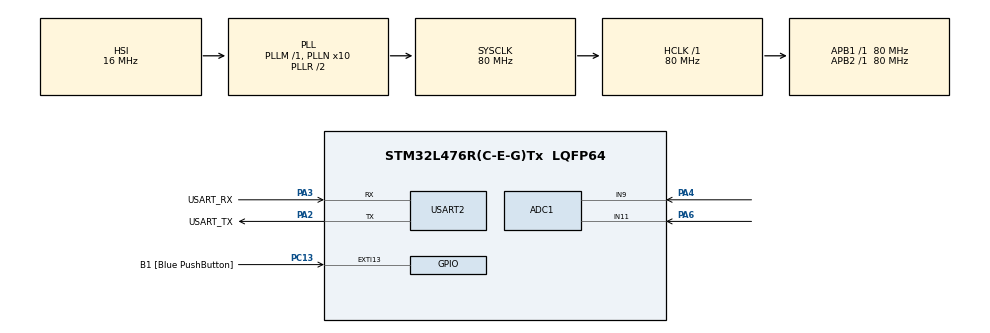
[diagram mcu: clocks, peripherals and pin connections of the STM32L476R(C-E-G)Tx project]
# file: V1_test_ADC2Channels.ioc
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ADC1.Channel-7\#ChannelRegularConversion=ADC_CHANNEL_11
ADC1.ContinuousConvMode=ENABLE
ADC1.NbrOfConversionFlag=1
ADC1.OffsetNumber-7\#ChannelRegularConversion=ADC_OFFSET_NONE
ADC1.Rank-7\#ChannelRegularConversion=1
ADC1.SamplingTime-7\#ChannelRegularConversion=ADC_SAMPLETIME_2CYCLES_5
ADC1.master=1
Dma.ADC1.0.Direction=DMA_PERIPH_TO_MEMORY
Dma.ADC1.0.Instance=DMA1_Channel1
Dma.ADC1.0.MemDataAlignment=DMA_MDATAALIGN_HALFWORD
Dma.ADC1.0.MemInc=DMA_MINC_ENABLE
Dma.ADC1.0.Mode=DMA_NORMAL
Dma.ADC1.0.PeriphDataAlignment=DMA_PDATAALIGN_HALFWORD
Dma.ADC1.0.PeriphInc=DMA_PINC_DISABLE
Dma.ADC1.0.Priority=DMA_PRIORITY_LOW
Dma.Request0=ADC1
Mcu.Family=STM32L4
Mcu.Name=STM32L476R(C-E-G)Tx
Mcu.Package=LQFP64
NVIC.ADC1_2_IRQn=true\:0\:0\:false\:false\:true\:true
NVIC.DMA1_Channel1_IRQn=true\:0\:0\:false\:false\:true\:false
NVIC.PriorityGroup=NVIC_PRIORITYGROUP_4
NVIC.TIM3_IRQn=true\:0\:0\:false\:false\:true\:true
PA13\ (JTMS-SWDIO).GPIO_Label=TMS
PA13\ (JTMS-SWDIO).Mode=Trace_Asynchronous_SW
PA13\ (JTMS-SWDIO).Signal=SYS_JTMS-SWDIO
PA14\ (JTCK-SWCLK).GPIO_Label=TCK
PA14\ (JTCK-SWCLK).Mode=Trace_Asynchronous_SW
PA14\ (JTCK-SWCLK).Signal=SYS_JTCK-SWCLK
PA2.GPIO_Label=USART_TX
PA2.GPIO_Mode=GPIO_MODE_AF_PP
PA2.GPIO_PuPd=GPIO_NOPULL
PA2.GPIO_Speed=GPIO_SPEED_FREQ_VERY_HIGH
PA2.Mode=Asynchronous
PA2.Signal=USART2_TX
PA3.GPIO_Label=USART_RX
PA3.GPIO_Mode=GPIO_MODE_AF_PP
PA3.GPIO_PuPd=GPIO_NOPULL
PA3.GPIO_Speed=GPIO_SPEED_FREQ_VERY_HIGH
PA3.Mode=Asynchronous
PA3.Signal=USART2_RX
PA4.Signal=ADCx_IN9
PA6.Signal=ADCx_IN11
PB3\ (JTDO-TRACESWO).Mode=Trace_Asynchronous_SW
PB3\ (JTDO-TRACESWO).Signal=SYS_JTDO-SWO
PC13.GPIO_Label=B1 [Blue PushButton]
PC13.GPIO_ModeDefaultEXTI=GPIO_MODE_IT_FALLING
PC13.GPIO_PuPd=GPIO_NOPULL
PC13.Signal=GPXTI13
PC14-OSC32_IN\ (PC14).Mode=LSE-External-Oscillator
PC14-OSC32_IN\ (PC14).Signal=RCC_OSC32_IN
PC15-OSC32_OUT\ (PC15).Mode=LSE-External-Oscillator
PC15-OSC32_OUT\ (PC15).Signal=RCC_OSC32_OUT
PH0-OSC_IN\ (PH0).Signal=RCC_OSC_IN
PH1-OSC_OUT\ (PH1).Signal=RCC_OSC_OUT
ProjectManager.HeapSize=0x200
ProjectManager.StackSize=0x400
ProjectManager.TargetToolchain=TrueSTUDIO
RCC.ADCFreq_Value=64000000
RCC.AHBFreq_Value=80000000
RCC.APB1Freq_Value=80000000
RCC.APB1TimFreq_Value=80000000
RCC.APB2Freq_Value=80000000
RCC.APB2TimFreq_Value=80000000
RCC.CortexFreq_Value=80000000
RCC.HCLKFreq_Value=80000000
RCC.HSE_VALUE=8000000
RCC.HSI_VALUE=16000000
RCC.MSI_VALUE=4000000
RCC.PLLN=10
RCC.PLLSourceVirtual=RCC_PLLSOURCE_HSI
RCC.PREFETCH_ENABLE=1
RCC.SYSCLKFreq_VALUE=80000000
RCC.SYSCLKSource=RCC_SYSCLKSOURCE_PLLCLK
RCC.USBFreq_Value=64000000
RCC.VCOOutputFreq_Value=160000000
SH.ADCx_IN11.0=ADC1_IN11,IN11-Single-Ended
SH.ADCx_IN9.0=ADC1_IN9,IN9-Single-Ended
TIM3.Period=1000
TIM3.Prescaler=63999
USART2.VirtualMode-Asynchronous=VM_ASYNC
VP_TIM3_VS_ClockSourceINT.Mode=Internal
board=NUCLEO-L476RG

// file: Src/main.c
/* USER CODE BEGIN Header */
/**
  ******************************************************************************
  * @file           : main.c
  * @brief          : Main program body
  *
  * PA4 : Sensor Gaz
  *
  * PA6 : battery
  *
  ******************************************************************************
  ** This notice applies to any and all portions of this file
  * that are not between comment pairs USER CODE BEGIN and
  * USER CODE END. Other portions of this file, whether
  * inserted by the user or by software development tools
  * are owned by their respective copyright owners.
  *
  * COPYRIGHT(c) 2019 STMicroelectronics
  *
  * Redistribution and use in source and binary forms, with or without modification,
  * are permitted provided that the following conditions are met:
  *   1. Redistributions of source code must retain the above copyright notice,
  *      this list of conditions and the following disclaimer.
  *   2. Redistributions in binary form must reproduce the above copyright notice,
  *      this list of conditions and the following disclaimer in the documentation
  *      and/or other materials provided with the distribution.
  *   3. Neither the name of STMicroelectronics nor the names of its contributors
  *      may be used to endorse or promote products derived from this software
  *      without specific prior written permission.
  *
  * THIS SOFTWARE IS PROVIDED BY THE COPYRIGHT HOLDERS AND CONTRIBUTORS "AS IS"
  * AND ANY EXPRESS OR IMPLIED WARRANTIES, INCLUDING, BUT NOT LIMITED TO, THE
  * IMPLIED WARRANTIES OF MERCHANTABILITY AND FITNESS FOR A PARTICULAR PURPOSE ARE
  * DISCLAIMED. IN NO EVENT SHALL THE COPYRIGHT HOLDER OR CONTRIBUTORS BE LIABLE
  * FOR ANY DIRECT, INDIRECT, INCIDENTAL, SPECIAL, EXEMPLARY, OR CONSEQUENTIAL
  * DAMAGES (INCLUDING, BUT NOT LIMITED TO, PROCUREMENT OF SUBSTITUTE GOODS OR
  * SERVICES; LOSS OF USE, DATA, OR PROFITS; OR BUSINESS INTERRUPTION) HOWEVER
  * CAUSED AND ON ANY THEORY OF LIABILITY, WHETHER IN CONTRACT, STRICT LIABILITY,
  * OR TORT (INCLUDING NEGLIGENCE OR OTHERWISE) ARISING IN ANY WAY OUT OF THE USE
  * OF THIS SOFTWARE, EVEN IF ADVISED OF THE POSSIBILITY OF SUCH DAMAGE.
  *
  ******************************************************************************
  */
/* USER CODE END Header */

#include "main.h"

/* USER CODE BEGIN Includes */
#include <stdio.h>
#include <inttypes.h>
#include <math.h>
/* USER CODE END Includes */

/* USER CODE BEGIN PD */
#define ADCCONVERTEDVALUES_BUFFER_SIZE ((uint32_t) 2)
/* Size of array containing ADC converted values: set to ADC sequencer number of ranks converted, to have a rank in each address */
/* USER CODE END PD */

ADC_HandleTypeDef hadc1;
DMA_HandleTypeDef hdma_adc1;

TIM_HandleTypeDef htim3;

UART_HandleTypeDef huart2;

/* USER CODE BEGIN PV */
/* Variable containing ADC conversions results */
__IO uint16_t   aADCxConvertedValues[ADCCONVERTEDVALUES_BUFFER_SIZE];
//ADC for gaz sensor
static  uint16_t ADC_gaz =0;
//ADC for battery
static  float ADC_battery =0;
/* USER CODE END PV */

void SystemClock_Config(void);
static void MX_GPIO_Init(void);
static void MX_DMA_Init(void);
static void MX_USART2_UART_Init(void);
static void MX_ADC1_Init(void);
static void MX_TIM3_Init(void);

int main(void)
{

  /* MCU Configuration--------------------------------------------------------*/

  /* Reset of all peripherals, Initializes the Flash interface and the Systick. */
  HAL_Init();

  /* Configure the system clock */
  SystemClock_Config();

  /* Initialize all configured peripherals */
  MX_GPIO_Init();
  MX_DMA_Init();
  MX_USART2_UART_Init();
  MX_ADC1_Init();
  MX_TIM3_Init();
  /* USER CODE BEGIN 2 */
  printf("\033[2J\033[1;1H"); //Affiche seulement les nouvelles valeurs а virer pour le final
  printf("Sensors\r\n");
  /* Start ADC conversion on regular group with transfer by DMA */
  if (HAL_ADC_Start_DMA(&hadc1, (uint32_t *)aADCxConvertedValues, ADCCONVERTEDVALUES_BUFFER_SIZE) != HAL_OK)
  {
    /* Start Error */
    Error_Handler();
  }

  /* USER CODE END 2 */

  /* Infinite loop */
  /* USER CODE BEGIN WHILE */
  while (1)
  {
	    if (HAL_ADC_Start(&hadc1) != HAL_OK)
	    {
	      Error_Handler();
	    }

	    HAL_Delay(1);

	    ADC_battery    = aADCxConvertedValues[0];
	    ADC_gaz        = aADCxConvertedValues[1];
    /* USER CODE END WHILE */

  }
}

void SystemClock_Config(void)
{
  RCC_OscInitTypeDef RCC_OscInitStruct = {0};
  RCC_ClkInitTypeDef RCC_ClkInitStruct = {0};
  RCC_PeriphCLKInitTypeDef PeriphClkInit = {0};

  /**Initializes the CPU, AHB and APB busses clocks
  */
  RCC_OscInitStruct.OscillatorType = RCC_OSCILLATORTYPE_HSI;
  RCC_OscInitStruct.HSIState = RCC_HSI_ON;
  RCC_OscInitStruct.HSICalibrationValue = RCC_HSICALIBRATION_DEFAULT;
  RCC_OscInitStruct.PLL.PLLState = RCC_PLL_ON;
  RCC_OscInitStruct.PLL.PLLSource = RCC_PLLSOURCE_HSI;
  RCC_OscInitStruct.PLL.PLLM = 1;
  RCC_OscInitStruct.PLL.PLLN = 10;
  RCC_OscInitStruct.PLL.PLLP = RCC_PLLP_DIV7;
  RCC_OscInitStruct.PLL.PLLQ = RCC_PLLQ_DIV2;
  RCC_OscInitStruct.PLL.PLLR = RCC_PLLR_DIV2;
  if (HAL_RCC_OscConfig(&RCC_OscInitStruct) != HAL_OK)
  {
    Error_Handler();
  }
  /**Initializes the CPU, AHB and APB busses clocks
  */
  RCC_ClkInitStruct.ClockType = RCC_CLOCKTYPE_HCLK|RCC_CLOCKTYPE_SYSCLK
                              |RCC_CLOCKTYPE_PCLK1|RCC_CLOCKTYPE_PCLK2;
  RCC_ClkInitStruct.SYSCLKSource = RCC_SYSCLKSOURCE_PLLCLK;
  RCC_ClkInitStruct.AHBCLKDivider = RCC_SYSCLK_DIV1;
  RCC_ClkInitStruct.APB1CLKDivider = RCC_HCLK_DIV1;
  RCC_ClkInitStruct.APB2CLKDivider = RCC_HCLK_DIV1;

  if (HAL_RCC_ClockConfig(&RCC_ClkInitStruct, FLASH_LATENCY_4) != HAL_OK)
  {
    Error_Handler();
  }
  PeriphClkInit.PeriphClockSelection = RCC_PERIPHCLK_USART2|RCC_PERIPHCLK_ADC;
  PeriphClkInit.Usart2ClockSelection = RCC_USART2CLKSOURCE_PCLK1;
  PeriphClkInit.AdcClockSelection = RCC_ADCCLKSOURCE_PLLSAI1;
  PeriphClkInit.PLLSAI1.PLLSAI1Source = RCC_PLLSOURCE_HSI;
  PeriphClkInit.PLLSAI1.PLLSAI1M = 1;
  PeriphClkInit.PLLSAI1.PLLSAI1N = 8;
  PeriphClkInit.PLLSAI1.PLLSAI1P = RCC_PLLP_DIV7;
  PeriphClkInit.PLLSAI1.PLLSAI1Q = RCC_PLLQ_DIV2;
  PeriphClkInit.PLLSAI1.PLLSAI1R = RCC_PLLR_DIV2;
  PeriphClkInit.PLLSAI1.PLLSAI1ClockOut = RCC_PLLSAI1_ADC1CLK;
  if (HAL_RCCEx_PeriphCLKConfig(&PeriphClkInit) != HAL_OK)
  {
    Error_Handler();
  }
  /**Configure the main internal regulator output voltage
  */
  if (HAL_PWREx_ControlVoltageScaling(PWR_REGULATOR_VOLTAGE_SCALE1) != HAL_OK)
  {
    Error_Handler();
  }
}

static void MX_ADC1_Init(void)
{

  ADC_MultiModeTypeDef multimode = {0};
  ADC_ChannelConfTypeDef sConfig = {0};

  /**Common config
  */
  hadc1.Instance = ADC1;
  hadc1.Init.ClockPrescaler = ADC_CLOCK_ASYNC_DIV1;
  hadc1.Init.Resolution = ADC_RESOLUTION_12B;
  hadc1.Init.DataAlign = ADC_DATAALIGN_RIGHT;
  hadc1.Init.ScanConvMode = ADC_SCAN_DISABLE;
  hadc1.Init.EOCSelection = ADC_EOC_SINGLE_CONV;
  hadc1.Init.LowPowerAutoWait = DISABLE;
  hadc1.Init.ContinuousConvMode = ENABLE;
  hadc1.Init.NbrOfConversion = 1;
  hadc1.Init.DiscontinuousConvMode = DISABLE;
  hadc1.Init.ExternalTrigConv = ADC_SOFTWARE_START;
  hadc1.Init.ExternalTrigConvEdge = ADC_EXTERNALTRIGCONVEDGE_NONE;
  hadc1.Init.DMAContinuousRequests = DISABLE;
  hadc1.Init.Overrun = ADC_OVR_DATA_PRESERVED;
  hadc1.Init.OversamplingMode = DISABLE;
  if (HAL_ADC_Init(&hadc1) != HAL_OK)
  {
    Error_Handler();
  }
  /**Configure the ADC multi-mode
  */
  multimode.Mode = ADC_MODE_INDEPENDENT;
  if (HAL_ADCEx_MultiModeConfigChannel(&hadc1, &multimode) != HAL_OK)
  {
    Error_Handler();
  }
  /**Configure Regular Channel
  */
  sConfig.Channel = ADC_CHANNEL_11;
  sConfig.Rank = ADC_REGULAR_RANK_1;
  sConfig.SamplingTime = ADC_SAMPLETIME_2CYCLES_5;
  sConfig.SingleDiff = ADC_SINGLE_ENDED;
  sConfig.OffsetNumber = ADC_OFFSET_NONE;
  sConfig.Offset = 0;
  if (HAL_ADC_ConfigChannel(&hadc1, &sConfig) != HAL_OK)
  {
    Error_Handler();
  }
  /* USER CODE BEGIN ADC1_Init 2 */
  sConfig.Channel = ADC_CHANNEL_9;
  sConfig.Rank = ADC_REGULAR_RANK_1;
  sConfig.SamplingTime = ADC_SAMPLETIME_2CYCLES_5;
  sConfig.SingleDiff = ADC_SINGLE_ENDED;
  sConfig.OffsetNumber = ADC_OFFSET_NONE;
  sConfig.Offset = 0;
  if (HAL_ADC_ConfigChannel(&hadc1, &sConfig) != HAL_OK)
  {
    Error_Handler();
  }
  /* USER CODE END ADC1_Init 2 */

}

static void MX_TIM3_Init(void)
{

  TIM_ClockConfigTypeDef sClockSourceConfig = {0};
  TIM_MasterConfigTypeDef sMasterConfig = {0};

  htim3.Instance = TIM3;
  htim3.Init.Prescaler = 63999;
  htim3.Init.CounterMode = TIM_COUNTERMODE_UP;
  htim3.Init.Period = 1000;
  htim3.Init.ClockDivision = TIM_CLOCKDIVISION_DIV1;
  htim3.Init.AutoReloadPreload = TIM_AUTORELOAD_PRELOAD_DISABLE;
  if (HAL_TIM_Base_Init(&htim3) != HAL_OK)
  {
    Error_Handler();
  }
  sClockSourceConfig.ClockSource = TIM_CLOCKSOURCE_INTERNAL;
  if (HAL_TIM_ConfigClockSource(&htim3, &sClockSourceConfig) != HAL_OK)
  {
    Error_Handler();
  }
  sMasterConfig.MasterOutputTrigger = TIM_TRGO_RESET;
  sMasterConfig.MasterSlaveMode = TIM_MASTERSLAVEMODE_DISABLE;
  if (HAL_TIMEx_MasterConfigSynchronization(&htim3, &sMasterConfig) != HAL_OK)
  {
    Error_Handler();
  }

}

static void MX_USART2_UART_Init(void)
{

  huart2.Instance = USART2;
  huart2.Init.BaudRate = 115200;
  huart2.Init.WordLength = UART_WORDLENGTH_8B;
  huart2.Init.StopBits = UART_STOPBITS_1;
  huart2.Init.Parity = UART_PARITY_NONE;
  huart2.Init.Mode = UART_MODE_TX_RX;
  huart2.Init.HwFlowCtl = UART_HWCONTROL_NONE;
  huart2.Init.OverSampling = UART_OVERSAMPLING_16;
  huart2.Init.OneBitSampling = UART_ONE_BIT_SAMPLE_DISABLE;
  huart2.AdvancedInit.AdvFeatureInit = UART_ADVFEATURE_NO_INIT;
  if (HAL_UART_Init(&huart2) != HAL_OK)
  {
    Error_Handler();
  }

}

static void MX_DMA_Init(void)
{
  /* DMA controller clock enable */
  __HAL_RCC_DMA1_CLK_ENABLE();

  /* DMA interrupt init */
  /* DMA1_Channel1_IRQn interrupt configuration */
  HAL_NVIC_SetPriority(DMA1_Channel1_IRQn, 0, 0);
  HAL_NVIC_EnableIRQ(DMA1_Channel1_IRQn);

}

static void MX_GPIO_Init(void)
{
  GPIO_InitTypeDef GPIO_InitStruct = {0};

  /* GPIO Ports Clock Enable */
  __HAL_RCC_GPIOC_CLK_ENABLE();
  __HAL_RCC_GPIOH_CLK_ENABLE();
  __HAL_RCC_GPIOA_CLK_ENABLE();
  __HAL_RCC_GPIOB_CLK_ENABLE();
  __HAL_RCC_GPIOD_CLK_ENABLE();

  /*Configure GPIO pin : B1_Pin */
  GPIO_InitStruct.Pin = B1_Pin;
  GPIO_InitStruct.Mode = GPIO_MODE_IT_FALLING;
  GPIO_InitStruct.Pull = GPIO_NOPULL;
  HAL_GPIO_Init(B1_GPIO_Port, &GPIO_InitStruct);

  /*Configure GPIO pins : PC0 PC1 PC2 PC3
                           PC4 PC5 PC6 PC7
                           PC8 PC9 PC10 PC11
                           PC12 */
  GPIO_InitStruct.Pin = GPIO_PIN_0|GPIO_PIN_1|GPIO_PIN_2|GPIO_PIN_3
                          |GPIO_PIN_4|GPIO_PIN_5|GPIO_PIN_6|GPIO_PIN_7
                          |GPIO_PIN_8|GPIO_PIN_9|GPIO_PIN_10|GPIO_PIN_11
                          |GPIO_PIN_12;
  GPIO_InitStruct.Mode = GPIO_MODE_ANALOG;
  GPIO_InitStruct.Pull = GPIO_NOPULL;
  HAL_GPIO_Init(GPIOC, &GPIO_InitStruct);

  /*Configure GPIO pins : PA0 PA1 PA5 PA7
                           PA8 PA9 PA10 PA11
                           PA12 PA15 */
  GPIO_InitStruct.Pin = GPIO_PIN_0|GPIO_PIN_1|GPIO_PIN_5|GPIO_PIN_7
                          |GPIO_PIN_8|GPIO_PIN_9|GPIO_PIN_10|GPIO_PIN_11
                          |GPIO_PIN_12|GPIO_PIN_15;
  GPIO_InitStruct.Mode = GPIO_MODE_ANALOG;
  GPIO_InitStruct.Pull = GPIO_NOPULL;
  HAL_GPIO_Init(GPIOA, &GPIO_InitStruct);

  /*Configure GPIO pins : PB0 PB1 PB2 PB10
                           PB11 PB12 PB13 PB14
                           PB15 PB4 PB5 PB6
                           PB7 PB8 PB9 */
  GPIO_InitStruct.Pin = GPIO_PIN_0|GPIO_PIN_1|GPIO_PIN_2|GPIO_PIN_10
                          |GPIO_PIN_11|GPIO_PIN_12|GPIO_PIN_13|GPIO_PIN_14
                          |GPIO_PIN_15|GPIO_PIN_4|GPIO_PIN_5|GPIO_PIN_6
                          |GPIO_PIN_7|GPIO_PIN_8|GPIO_PIN_9;
  GPIO_InitStruct.Mode = GPIO_MODE_ANALOG;
  GPIO_InitStruct.Pull = GPIO_NOPULL;
  HAL_GPIO_Init(GPIOB, &GPIO_InitStruct);

  /*Configure GPIO pin : PD2 */
  GPIO_InitStruct.Pin = GPIO_PIN_2;
  GPIO_InitStruct.Mode = GPIO_MODE_ANALOG;
  GPIO_InitStruct.Pull = GPIO_NOPULL;
  HAL_GPIO_Init(GPIOD, &GPIO_InitStruct);

}

/* USER CODE BEGIN 4 */
int _write(int file,char *ptr, int len)
{
    HAL_UART_Transmit(&huart2,(uint8_t *)ptr,len,10);
    return len;
}

/* USER CODE END 4 */

void Error_Handler(void)
{
}

/************************ (C) COPYRIGHT STMicroelectronics *****END OF FILE****/
